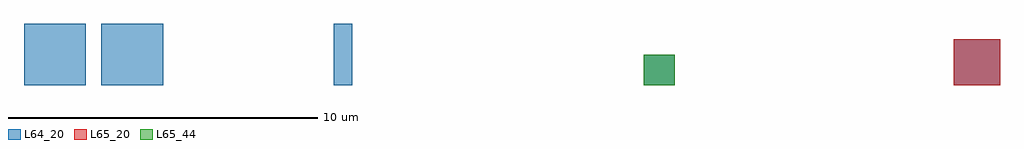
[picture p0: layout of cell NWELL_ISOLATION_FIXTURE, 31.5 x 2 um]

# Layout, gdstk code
import gdstk
lib = gdstk.Library(unit=1e-6, precision=1e-09)
def R(c, l, rs):  # rectangles x0, y0, x1, y1
    for r in rs: c.add(gdstk.rectangle(r[:2], r[2:], *l))
L64_20 = (64, 20)
L65_20 = (65, 20)
L65_44 = (65, 44)

nwell_isolation_fixture = lib.new_cell('NWELL_ISOLATION_FIXTURE')
R(nwell_isolation_fixture, L64_20, [(0,0,2,2), (2.5,0,4.5,2), (10,0,10.6,2), (20,0,21,1), (30,0,31.5,1.5)])
R(nwell_isolation_fixture, L65_20, [(30,0,31.5,1.5)])
R(nwell_isolation_fixture, L65_44, [(20,0,21,1)])

lib.write_gds('NWELL_ISOLATION_FIXTURE.gds')
